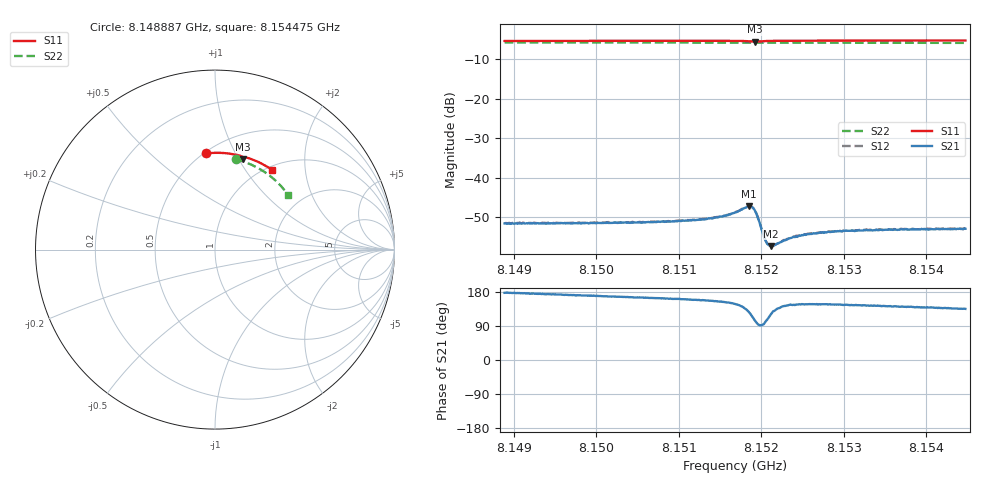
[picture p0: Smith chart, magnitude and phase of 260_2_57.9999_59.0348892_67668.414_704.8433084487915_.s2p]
#  HZ  S  RI  R  50.00
! Rohde & Schwarz Vector Network Analyzer
! Rohde-Schwarz,ZNB20-2Port,1311601062101988,3.16
! Created: UTC 3/21/2024, 1:01:56 AM
! freq[Hz]  re:S11  im:S11  re:S21  im:S21  re:S12  im:S12  re:S22  im:S22
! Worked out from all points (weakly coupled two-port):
!   401 points, 8.148887 GHz to 8.154475 GHz, reference 50 ohm
!   highest |S21| = -47.28 dB at 8.151849 GHz (marker M1); lowest = -57.3 dB at 8.152114 GHz (marker M2)
!   lowest |S11| = -5.5 dB at 8.151919 GHz (marker M3), VSWR 3.24, Z = 37.3 + j52.3 ohm
!   |S11| at or under -10 dB: nowhere
!   |S22| runs from -5.9 to -5.7 dB; largest |S21 - S12| = 0.00012
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8.1488873e9  -0.048 0.5358  -0.00263 0.000125  -0.00263 0.000156  0.116 0.5027
8.1498233e9  0.0174 0.5392  -0.0026 0.000462  -0.00264 0.000479  0.1742 0.4848
8.1507592e9  0.0826 0.5346  -0.00266 0.000801  -0.00266 0.000856  0.2295 0.4601
8.151318e9  0.1219 0.5276  -0.00274 0.00114  -0.00276 0.00121  0.2608 0.4422
8.1515415e9  0.138 0.5235  -0.00291 0.00147  -0.00291 0.00151  0.273 0.4343
8.1516812e9  0.1488 0.5194  -0.00305 0.00191  -0.00307 0.00198  0.2805 0.4293
8.1518488e9  0.1592 0.509  -0.00259 0.00347  -0.00252 0.00352  0.2893 0.4228
8.1518907e9  0.1585 0.5057  -0.00176 0.00383  -0.00171 0.00386  0.2912 0.4213
8.1519186e9  0.157 0.5048  -0.00103 0.00376  -0.000976 0.0038  0.2925 0.4203
8.1519606e9  0.1553 0.5067  -0.000212 0.00304  -0.000209 0.00309  0.2946 0.4188
8.1520164e9  0.1575 0.5106  -0.000107 0.00201  -9.04e-05 0.00204  0.2974 0.417
8.1520444e9  0.1596 0.5121  -0.000266 0.00164  -0.000223 0.00165  0.2989 0.4159
8.1520723e9  0.1622 0.5127  -0.000413 0.00138  -0.000423 0.00142  0.3005 0.4149
8.1521003e9  0.1646 0.513  -0.000587 0.00124  -0.000597 0.00125  0.3018 0.4137
8.1521142e9  0.1659 0.5132  -0.000682 0.00119  -0.000664 0.0012  0.3026 0.4133
8.1521561e9  0.1695 0.513  -0.000881 0.00107  -0.000857 0.00109  0.3048 0.4117
8.1522539e9  0.1775 0.5119  -0.00122 0.000977  -0.00121 0.00101  0.3097 0.4078
8.1523936e9  0.1879 0.5091  -0.00147 0.001  -0.00147 0.00103  0.3169 0.4021
8.1526171e9  0.2032 0.504  -0.00164 0.00104  -0.00164 0.0011  0.3278 0.3929
8.1530222e9  0.2302 0.4934  -0.00176 0.00121  -0.00174 0.00122  0.3467 0.3755
8.1535531e9  0.2636 0.4772  -0.00174 0.00136  -0.00172 0.00138  0.3704 0.3513
8.154475e9  0.3182 0.4443  -0.00159 0.00159  -0.00158 0.00161  0.407 0.3058
